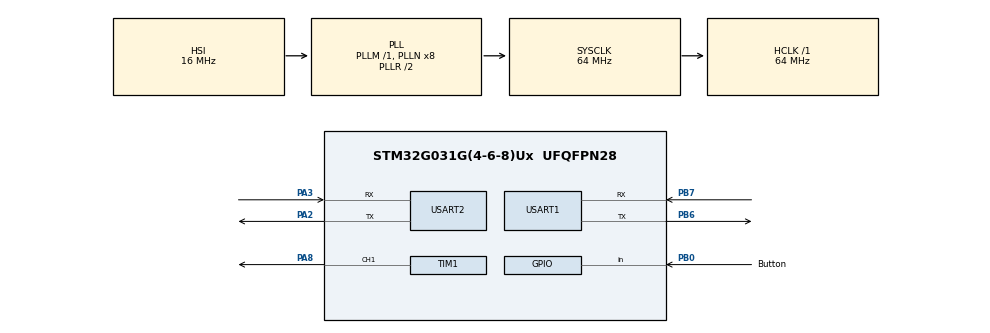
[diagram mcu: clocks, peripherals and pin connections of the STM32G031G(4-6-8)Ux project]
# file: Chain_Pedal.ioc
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Dma.Request0=USART1_RX
Dma.Request1=USART1_TX
Dma.Request2=USART2_RX
Dma.Request3=USART2_TX
Dma.Request4=TIM1_CH1
Dma.TIM1_CH1.4.Direction=DMA_MEMORY_TO_PERIPH
Dma.TIM1_CH1.4.EventEnable=DISABLE
Dma.TIM1_CH1.4.Instance=DMA1_Channel5
Dma.TIM1_CH1.4.MemDataAlignment=DMA_MDATAALIGN_BYTE
Dma.TIM1_CH1.4.MemInc=DMA_MINC_ENABLE
Dma.TIM1_CH1.4.Mode=DMA_NORMAL
Dma.TIM1_CH1.4.PeriphDataAlignment=DMA_PDATAALIGN_HALFWORD
Dma.TIM1_CH1.4.PeriphInc=DMA_PINC_DISABLE
Dma.TIM1_CH1.4.Polarity=HAL_DMAMUX_REQ_GEN_RISING
Dma.TIM1_CH1.4.Priority=DMA_PRIORITY_LOW
Dma.TIM1_CH1.4.RequestNumber=1
Dma.TIM1_CH1.4.SignalID=NONE
Dma.TIM1_CH1.4.SyncEnable=DISABLE
Dma.TIM1_CH1.4.SyncPolarity=HAL_DMAMUX_SYNC_NO_EVENT
Dma.TIM1_CH1.4.SyncRequestNumber=1
Dma.TIM1_CH1.4.SyncSignalID=NONE
Dma.USART1_RX.0.Direction=DMA_PERIPH_TO_MEMORY
Dma.USART1_RX.0.EventEnable=DISABLE
Dma.USART1_RX.0.Instance=DMA1_Channel1
Dma.USART1_RX.0.MemDataAlignment=DMA_MDATAALIGN_BYTE
Dma.USART1_RX.0.MemInc=DMA_MINC_ENABLE
Dma.USART1_RX.0.Mode=DMA_NORMAL
Dma.USART1_RX.0.PeriphDataAlignment=DMA_PDATAALIGN_BYTE
Dma.USART1_RX.0.PeriphInc=DMA_PINC_DISABLE
Dma.USART1_RX.0.Polarity=HAL_DMAMUX_REQ_GEN_RISING
Dma.USART1_RX.0.Priority=DMA_PRIORITY_LOW
Dma.USART1_RX.0.RequestNumber=1
Dma.USART1_RX.0.SignalID=NONE
Dma.USART1_RX.0.SyncEnable=DISABLE
Dma.USART1_RX.0.SyncPolarity=HAL_DMAMUX_SYNC_NO_EVENT
Dma.USART1_RX.0.SyncRequestNumber=1
Dma.USART1_RX.0.SyncSignalID=NONE
Dma.USART1_TX.1.Direction=DMA_MEMORY_TO_PERIPH
Dma.USART1_TX.1.EventEnable=DISABLE
Dma.USART1_TX.1.Instance=DMA1_Channel2
Dma.USART1_TX.1.MemDataAlignment=DMA_MDATAALIGN_BYTE
Dma.USART1_TX.1.MemInc=DMA_MINC_ENABLE
Dma.USART1_TX.1.Mode=DMA_NORMAL
Dma.USART1_TX.1.PeriphDataAlignment=DMA_PDATAALIGN_BYTE
Dma.USART1_TX.1.PeriphInc=DMA_PINC_DISABLE
Dma.USART1_TX.1.Polarity=HAL_DMAMUX_REQ_GEN_RISING
Dma.USART1_TX.1.Priority=DMA_PRIORITY_LOW
Dma.USART1_TX.1.RequestNumber=1
Dma.USART1_TX.1.SignalID=NONE
Dma.USART1_TX.1.SyncEnable=DISABLE
Dma.USART1_TX.1.SyncPolarity=HAL_DMAMUX_SYNC_NO_EVENT
Dma.USART1_TX.1.SyncRequestNumber=1
Dma.USART1_TX.1.SyncSignalID=NONE
Dma.USART2_RX.2.Direction=DMA_PERIPH_TO_MEMORY
Dma.USART2_RX.2.EventEnable=DISABLE
Dma.USART2_RX.2.Instance=DMA1_Channel3
Dma.USART2_RX.2.MemDataAlignment=DMA_MDATAALIGN_BYTE
Dma.USART2_RX.2.MemInc=DMA_MINC_ENABLE
Dma.USART2_RX.2.Mode=DMA_NORMAL
Dma.USART2_RX.2.PeriphDataAlignment=DMA_PDATAALIGN_BYTE
Dma.USART2_RX.2.PeriphInc=DMA_PINC_DISABLE
Dma.USART2_RX.2.Polarity=HAL_DMAMUX_REQ_GEN_RISING
Dma.USART2_RX.2.Priority=DMA_PRIORITY_LOW
Dma.USART2_RX.2.RequestNumber=1
Dma.USART2_RX.2.SignalID=NONE
Dma.USART2_RX.2.SyncEnable=DISABLE
Dma.USART2_RX.2.SyncPolarity=HAL_DMAMUX_SYNC_NO_EVENT
Dma.USART2_RX.2.SyncRequestNumber=1
Dma.USART2_RX.2.SyncSignalID=NONE
Dma.USART2_TX.3.Direction=DMA_MEMORY_TO_PERIPH
Dma.USART2_TX.3.EventEnable=DISABLE
Dma.USART2_TX.3.Instance=DMA1_Channel4
Dma.USART2_TX.3.MemDataAlignment=DMA_MDATAALIGN_BYTE
Dma.USART2_TX.3.MemInc=DMA_MINC_ENABLE
Dma.USART2_TX.3.Mode=DMA_NORMAL
Dma.USART2_TX.3.PeriphDataAlignment=DMA_PDATAALIGN_BYTE
Dma.USART2_TX.3.PeriphInc=DMA_PINC_DISABLE
Dma.USART2_TX.3.Polarity=HAL_DMAMUX_REQ_GEN_RISING
Dma.USART2_TX.3.Priority=DMA_PRIORITY_LOW
Dma.USART2_TX.3.RequestNumber=1
Dma.USART2_TX.3.SignalID=NONE
Dma.USART2_TX.3.SyncEnable=DISABLE
Dma.USART2_TX.3.SyncPolarity=HAL_DMAMUX_SYNC_NO_EVENT
Dma.USART2_TX.3.SyncRequestNumber=1
Dma.USART2_TX.3.SyncSignalID=NONE
IWDG.Prescaler=IWDG_PRESCALER_16
Mcu.Family=STM32G0
Mcu.Name=STM32G031G(4-6-8)Ux
Mcu.Package=UFQFPN28
NVIC.DMA1_Ch4_5_DMAMUX1_OVR_IRQn=true\:1\:0\:true\:false\:true\:false\:true\:true
NVIC.DMA1_Channel1_IRQn=true\:1\:0\:true\:false\:true\:false\:true\:true
NVIC.DMA1_Channel2_3_IRQn=true\:1\:0\:true\:false\:true\:false\:true\:true
NVIC.FLASH_IRQn=true\:1\:0\:true\:false\:true\:true\:true\:true
NVIC.TIM14_IRQn=true\:1\:0\:true\:false\:true\:true\:true\:true
NVIC.TIM16_IRQn=true\:1\:0\:true\:false\:true\:true\:true\:true
NVIC.TIM17_IRQn=true\:1\:0\:true\:false\:true\:true\:true\:true
NVIC.USART1_IRQn=true\:0\:0\:false\:false\:true\:false\:true\:true
NVIC.USART2_IRQn=true\:0\:0\:false\:false\:true\:false\:true\:true
PA2.GPIO_PuPd=GPIO_PULLUP
PA2.GPIO_Speed=GPIO_SPEED_FREQ_HIGH
PA2.Mode=Asynchronous
PA2.PinState=GPIO_PIN_RESET
PA2.Signal=USART2_TX
PA3.GPIO_PuPd=GPIO_PULLUP
PA3.GPIO_Speed=GPIO_SPEED_FREQ_HIGH
PA3.Mode=Asynchronous
PA3.PinState=GPIO_PIN_RESET
PA3.Signal=USART2_RX
PA8.Signal=S_TIM1_CH1
PB0.GPIO_Label=Button
PB0.GPIO_PuPd=GPIO_PULLUP
PB0.Signal=GPIO_Input
PB6.GPIO_PuPd=GPIO_PULLUP
PB6.GPIO_Speed=GPIO_SPEED_FREQ_HIGH
PB6.Mode=Asynchronous
PB6.Signal=USART1_TX
PB7.GPIO_PuPd=GPIO_PULLUP
PB7.GPIO_Speed=GPIO_SPEED_FREQ_HIGH
PB7.Mode=Asynchronous
PB7.Signal=USART1_RX
ProjectManager.HeapSize=0x200
ProjectManager.StackSize=0x400
ProjectManager.TargetToolchain=STM32CubeIDE
RCC.ADCFreq_Value=64000000
RCC.AHBFreq_Value=64000000
RCC.CortexFreq_Value=64000000
RCC.EXTERNAL_CLOCK_VALUE=12288000
RCC.HCLKFreq_Value=64000000
RCC.HSE_VALUE=8000000
RCC.HSI_VALUE=16000000
RCC.LSE_VALUE=32768
RCC.PLLQ=RCC_PLLQ_DIV4
RCC.SYSCLKFreq_VALUE=64000000
RCC.SYSCLKSource=RCC_SYSCLKSOURCE_PLLCLK
RCC.VCOOutputFreq_Value=128000000
SH.S_TIM1_CH1.0=TIM1_CH1,PWM Generation1 CH1
TIM1.Channel-PWM\ Generation1\ CH1=TIM_CHANNEL_1
TIM1.Period=79
TIM14.AutoReloadPreload=TIM_AUTORELOAD_PRELOAD_ENABLE
TIM14.Period=1699
TIM14.Prescaler=6399
TIM16.Period=29999
TIM16.Prescaler=6399
TIM17.Period=9999
TIM17.Prescaler=6399
USART1.VirtualMode-Asynchronous=VM_ASYNC
USART2.VirtualMode-Asynchronous=VM_ASYNC
VP_IWDG_VS_IWDG.Mode=IWDG_Activate
VP_TIM14_VS_ClockSourceINT.Mode=Enable_Timer
VP_TIM16_VS_ClockSourceINT.Mode=Enable_Timer
VP_TIM17_VS_ClockSourceINT.Mode=Enable_Timer
VP_TIM1_VS_ClockSourceINT.Mode=Internal
board=custom

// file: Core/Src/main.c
/* USER CODE BEGIN Header */
/**
 ******************************************************************************
 * @file           : main.c
 * @brief          : Main program body
 ******************************************************************************
 * @attention
 *
 * Copyright (c) 2024 STMicroelectronics.
 * All rights reserved.
 *
 * This software is licensed under terms that can be found in the LICENSE file
 * in the root directory of this software component.
 * If no LICENSE file comes with this software, it is provided AS-IS.
 *
 ******************************************************************************
 */
/* USER CODE END Header */
#include "main.h"
#include "dma.h"
#include "iwdg.h"
#include "tim.h"
#include "usart.h"
#include "gpio.h"

/* USER CODE BEGIN Includes */
#include "base_function.h"
#include "RGB.h"
#include "myflash.h"
#include "user_pedal.h"
/* USER CODE END Includes */

/* USER CODE BEGIN PV */
// DMA receive buffers
__IO uint8_t g_uart_in_rx_buf[UART_BUFFER_SIZE][BUFFER_SIZE * 2];   // uart_in receive buffer for DMA
__IO uint8_t g_uart_out_rx_buf[UART_BUFFER_SIZE][BUFFER_SIZE * 2];  // uart_out receive buffer for DMA

// Transmission status for UART
__IO uint8_t g_uart_in_rx_index  = 0;  // Index for UART input (receiving) buffer position
__IO uint8_t g_uart_out_rx_index = 0;  // Index for UART output (receiving) buffer position

// Transmission complete flags for UART
__IO uint8_t g_uart_in_transmit_complete  = 1;  // Flag indicating if uart_in transmission is complete (1: complete)
__IO uint8_t g_uart_out_transmit_complete = 1;  // Flag indicating if uart_out transmission is complete (1: complete)

// Command buffer and related variables
__IO uint8_t g_cmd_buf[BUFFER_SIZE] = {0};                    // Command buffer initialized to zero
__IO uint8_t g_cmd_size             = 0;                      // Size of the command currently in the buffer
__IO uint8_t g_cmd_status           = CMD_SPACE_IDLE_STATUS;  // Status of the command processing

// Device status variables
__IO uint8_t g_tail_status        = CHAIN_TAIL_DEVICE;  // Status of the tail device in the chain
__IO uint8_t g_heart_beat_record  = 0;                  // Heartbeat record for monitoring device status
__IO uint8_t g_bootloader_version = 0;                  // Version of the bootloader
__IO uint8_t g_firmware_version   = SOFTWARE_VERSION;   // Version of the firmware

__IO uint16_t g_device_type = (uint8_t)((PRODUCT_TYPE_HIGH << 8) | PRODUCT_TYPE_LOW);  // Device type

__IO uint8_t g_pedal_overlay = 0;  // Overlay setting for the pedal

__IO uint8_t g_pedal_enter_config_time = 0;  // Enter config time for the pedal

__IO uint8_t g_pedal_work_mode = 0;  // Work mode of the pedal

__IO uint8_t g_light = 0;  // Light status or value

__IO static uint32_t s_last_press_time = 0;  // Store the last press time in milliseconds

__IO static uint8_t s_key_flag = 0;

__IO uint8_t g_uid[12] = {0};  // Unique identifier
/* USER CODE END PV */

void SystemClock_Config(void);

/* USER CODE BEGIN 0 */
/**
 * @brief Set the Interrupt Vector Table for the application in SRAM.
 * @param None
 * @retval None
 */
void iap_set(void)
{
    uint8_t i;                                     // Loop index
    uint32_t *pVecTab = (uint32_t *)(0x20000000);  // Pointer to the vector table in SRAM

    // Copy the interrupt vector table from the application address to SRAM
    for (i = 0; i < 48; i++) {
        // Copy each vector entry to the SRAM vector table
        *(pVecTab++) = *(__IO uint32_t *)(APPLICATION_ADDRESS + (i << 2));
    }

    // Enable the SYSCFG peripheral clock
    __HAL_RCC_SYSCFG_CLK_ENABLE();

    // Remap the memory to use SRAM for the vector table
    __HAL_SYSCFG_REMAPMEMORY_SRAM();
}

/**
 * @brief Initialize the chain device settings.
 * @param None
 * @retval None
 */
void chain_init(void)
{
    // Get the version of the bootloader
    g_bootloader_version = get_bootloader_version();

    if (get_pedal_overlay() == 0xFF) {
        g_pedal_overlay = PEDAL_OVERLAY_BASE;
        set_pedal_overlay(g_pedal_overlay);
    } else {
        g_pedal_overlay = get_pedal_overlay();
    }

    if (get_pedal_enter_config_time() == 0xFF) {
        g_pedal_enter_config_time = PEDAL_ENTER_CONFIG_TIME_BASE;
        set_pedal_enter_config_time(g_pedal_enter_config_time);
    } else {
        g_pedal_enter_config_time = get_pedal_enter_config_time();
    }

    if (get_pedal_work_mode() == 0xFF) {
        g_pedal_work_mode = PEADL_WORK_MODE_BASE;
        set_pedal_work_mode(g_pedal_work_mode);
    } else {
        g_pedal_work_mode = get_pedal_work_mode();
    }

    if (get_rgb_light() == 0xFF) {
        g_light = RGB_LIGHT_BASE;
        set_rgb_light(g_light);
    } else {
        g_light = get_rgb_light();
    }
}

void read_uid(void)
{
    uint32_t uid0 = HAL_GetUIDw0();
    uint32_t uid1 = HAL_GetUIDw1();
    uint32_t uid2 = HAL_GetUIDw2();

    memcpy(&g_uid[0], &uid0, 4);
    memcpy(&g_uid[4], &uid1, 4);
    memcpy(&g_uid[8], &uid2, 4);
}

/* USER CODE END 0 */

int main(void)
{
    /* USER CODE BEGIN 1 */
    iap_set();
    chain_init();
    read_uid();
    /* USER CODE END 1 */

    /* MCU Configuration--------------------------------------------------------*/

    /* Reset of all peripherals, Initializes the Flash interface and the Systick. */
    HAL_Init();

    /* Configure the system clock */
    SystemClock_Config();

    /* Initialize all configured peripherals */
    MX_GPIO_Init();
    MX_DMA_Init();
    MX_USART1_UART_Init();
    MX_USART2_UART_Init();
    MX_IWDG_Init();
    MX_TIM14_Init();
    MX_TIM1_Init();
    MX_TIM16_Init();
    MX_TIM17_Init();
    /* USER CODE BEGIN 2 */
    user_button_init();
    rgb_init();
    HAL_Delay(1);
    LL_TIM_ClearFlag_UPDATE(TIM14);  // Clear update TIM14
    LL_TIM_EnableIT_UPDATE(TIM14);   // ENABLE TIM14
    LL_TIM_EnableCounter(TIM14);     // ENABLE TIM14
    HAL_Delay(1);
    LL_TIM_ClearFlag_UPDATE(TIM17);  // Clear update TIM17
    LL_TIM_EnableIT_UPDATE(TIM17);   // ENABLE TIM17
    LL_TIM_EnableCounter(TIM17);     // ENABLE TIM17
    HAL_Delay(1);
    LL_TIM_ClearFlag_UPDATE(TIM16);  // Clear update TIM16
    LL_TIM_EnableIT_UPDATE(TIM16);   // ENABLE TIM16
    LL_TIM_EnableCounter(TIM16);     // ENABLE TIM16
    HAL_Delay(1);
    /* USER CODE END 2 */

    /* Infinite loop */
    /* USER CODE BEGIN WHILE */
    while (1) {
        if (g_cmd_status == CMD_SPACE_BUSY_STATUS) {
            switch (g_cmd_buf[0]) {
                case CHAIN_SET_RGB_VALUE:
                    chain_set_rgb_value((uint8_t *)(g_cmd_buf + 1), (g_cmd_size - 1));
                    break;
                case CHAIN_GET_RGB_VALUE:
                    chain_get_rgb_value((uint8_t *)(g_cmd_buf + 1), (g_cmd_size - 1));
                    break;
                case CHAIN_SET_RGB_LIGHT:
                    chain_set_light_value((uint8_t *)(g_cmd_buf + 1), (g_cmd_size - 1));
                    break;
                case CHAIN_GET_RGB_LIGHT:
                    chain_get_light_value();
                    break;
                case CHAIN_PEDAL_GET_BUTTON_STATUS:
                    user_get_pedal_button_status();
                    break;
                case CHAIN_PEDAL_GET_SWITCH_STATUS:
                    user_get_pedal_switch_status();
                    break;
                case CHAIN_PEDAL_SET_WORK_MODE:
                    user_set_pedal_work_mode((uint8_t *)(g_cmd_buf + 1), (g_cmd_size - 1));
                    break;
                case CHAIN_PEDAL_GET_WORK_MODE:
                    user_get_pedal_work_mode();
                    break;
                case CHAIN_PEDAL_SET_BUTTON_MODE:
                    user_set_pedal_button_mode((uint8_t *)(g_cmd_buf + 1), (g_cmd_size - 1));
                    break;
                case CHAIN_PEDAL_GET_BUTTON_MODE:
                    user_get_pedal_button_mode();
                    break;
                case CHAIN_PEDAL_SET_ENTER_CONFIG_TIME:
                    user_set_pedal_enter_config_time((uint8_t *)(g_cmd_buf + 1), (g_cmd_size - 1));
                    break;
                case CHAIN_PEDAL_GET_ENTER_CONFIG_TIME:
                    user_get_pedal_enter_config_time();
                    break;
                case CHAIN_PEDAL_SET_RGB_OVERLAY_VALUE:
                    user_set_pedal_rgb_overlay_value((uint8_t *)(g_cmd_buf + 1), (g_cmd_size - 1));
                    break;
                case CHAIN_PEDAL_GET_RGB_OVERLAY_VALUE:
                    user_get_pedal_rgb_overlay_value();
                    break;
                case CHAIN_GET_UID:
                    chain_get_uid_handle(g_cmd_buf[1]);
                    break;
                case CHAIN_GET_BOOTLOADER_VERSION:
                    chain_get_bootloader_version_handle();
                    break;
                case CHAIN_GET_VERSION_DEVICE:
                    chain_get_firmware_version_handle();
                    break;
                case CHAIN_GET_DEVICE_TYPE:
                    chain_get_device_type_handle();
                    break;
                case CHAIN_IAP_UPDATE:
                    chain_iap_update_handle(g_cmd_buf[1]);
                    break;
                default:
                    break;
            }
            g_cmd_status = CMD_SPACE_IDLE_STATUS;
        }
        /* USER CODE END WHILE */

        /* USER CODE BEGIN 3 */
        user_button_scan();
        rgb_update();
        LL_IWDG_ReloadCounter(IWDG);
    }
    /* USER CODE END 3 */
}

void SystemClock_Config(void)
{
    RCC_OscInitTypeDef RCC_OscInitStruct = {0};
    RCC_ClkInitTypeDef RCC_ClkInitStruct = {0};

    /** Configure the main internal regulator output voltage
     */
    HAL_PWREx_ControlVoltageScaling(PWR_REGULATOR_VOLTAGE_SCALE1);

    /** Initializes the RCC Oscillators according to the specified parameters
     * in the RCC_OscInitTypeDef structure.
     */
    RCC_OscInitStruct.OscillatorType      = RCC_OSCILLATORTYPE_HSI | RCC_OSCILLATORTYPE_LSI;
    RCC_OscInitStruct.HSIState            = RCC_HSI_ON;
    RCC_OscInitStruct.HSIDiv              = RCC_HSI_DIV1;
    RCC_OscInitStruct.HSICalibrationValue = RCC_HSICALIBRATION_DEFAULT;
    RCC_OscInitStruct.LSIState            = RCC_LSI_ON;
    RCC_OscInitStruct.PLL.PLLState        = RCC_PLL_ON;
    RCC_OscInitStruct.PLL.PLLSource       = RCC_PLLSOURCE_HSI;
    RCC_OscInitStruct.PLL.PLLM            = RCC_PLLM_DIV1;
    RCC_OscInitStruct.PLL.PLLN            = 8;
    RCC_OscInitStruct.PLL.PLLP            = RCC_PLLP_DIV2;
    RCC_OscInitStruct.PLL.PLLQ            = RCC_PLLQ_DIV4;
    RCC_OscInitStruct.PLL.PLLR            = RCC_PLLR_DIV2;
    if (HAL_RCC_OscConfig(&RCC_OscInitStruct) != HAL_OK) {
        Error_Handler();
    }

    /** Initializes the CPU, AHB and APB buses clocks
     */
    RCC_ClkInitStruct.ClockType      = RCC_CLOCKTYPE_HCLK | RCC_CLOCKTYPE_SYSCLK | RCC_CLOCKTYPE_PCLK1;
    RCC_ClkInitStruct.SYSCLKSource   = RCC_SYSCLKSOURCE_PLLCLK;
    RCC_ClkInitStruct.AHBCLKDivider  = RCC_SYSCLK_DIV1;
    RCC_ClkInitStruct.APB1CLKDivider = RCC_HCLK_DIV1;

    if (HAL_RCC_ClockConfig(&RCC_ClkInitStruct, FLASH_LATENCY_2) != HAL_OK) {
        Error_Handler();
    }
}

void Error_Handler(void)
{
    __disable_irq();
    while (1) {
    }
}

#ifdef USE_FULL_ASSERT
/**
 * @brief  Reports the name of the source file and the source line number
 *         where the assert_param error has occurred.
 * @param  file: pointer to the source file name
 * @param  line: assert_param error line source number
 * @retval None
 */
void assert_failed(uint8_t *file, uint32_t line)
{
    /* USER CODE BEGIN 6 */
    /* User can add his own implementation to report the file name and line
       number,
       ex: printf("Wrong parameters value: file %s on line %d\r\n", file, line) */
    /* USER CODE END 6 */
}
#endif /* USE_FULL_ASSERT */
